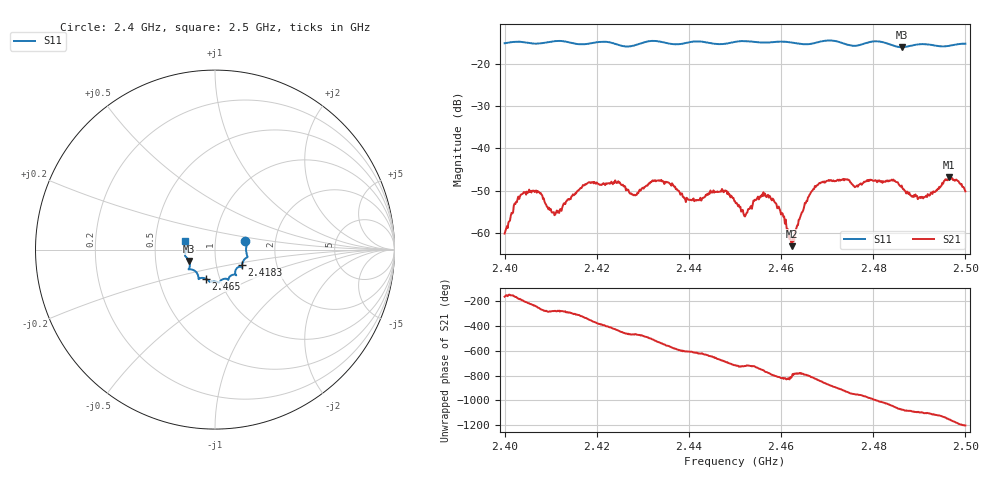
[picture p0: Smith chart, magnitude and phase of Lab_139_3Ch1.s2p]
# Hz S RI R 50
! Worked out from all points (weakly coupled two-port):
!   601 points, 2.4 GHz to 2.5 GHz, reference 50 ohm
!   highest |S21| = -46.83 dB at 2.4965 GHz (marker M1); lowest = -63.1 dB at 2.4623 GHz (marker M2)
!   lowest |S11| = -16.1 dB at 2.4862 GHz (marker M3), VSWR 1.37, Z = 37.2 - j4.86 ohm
!   |S11| at or under -10 dB: start of sweep to end of sweep
!   S12 and S22 are empty: the file has one direction only
!   S11 on the Smith chart (normalised r, x): 2.4 GHz: 1.40, +0.13; 2.4183 GHz: 1.33, -0.24; 2.465 GHz: 0.86, -0.29; 2.5 GHz: 0.71, +0.07
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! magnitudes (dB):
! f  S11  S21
! 2.4 GHz  -15.2  -60.1
! 2.404 GHz  -14.9  -50.7
! 2.4073 GHz  -15.2  -50.3
! 2.4113 GHz  -14.6  -54.7
! 2.4167 GHz  -15.4  -49.4
! 2.4183 GHz  -15.2  -48.0
! 2.4282 GHz  -15.7  -51.0
! 2.4333 GHz  -14.7  -47.6
! 2.4397 GHz  -15.0  -51.9
! 2.4477 GHz  -15.3  -50.2
! 2.45 GHz  -14.8  -52.5
! 2.4523 GHz  -14.7  -55.7
! 2.4577 GHz  -15.0  -51.5
! 2.4623 GHz  -15.0  -63.1
! 2.465 GHz  -15.4  -53.8
! 2.4667 GHz  -15.3  -50.1
! 2.4703 GHz  -14.5  -47.5
! 2.4833 GHz  -15.3  -47.8
! 2.4862 GHz  -16.1  -48.8
! 2.4908 GHz  -15.4  -51.8
! 2.4965 GHz  -15.8  -46.8
! 2.5 GHz  -15.3  -50.2
